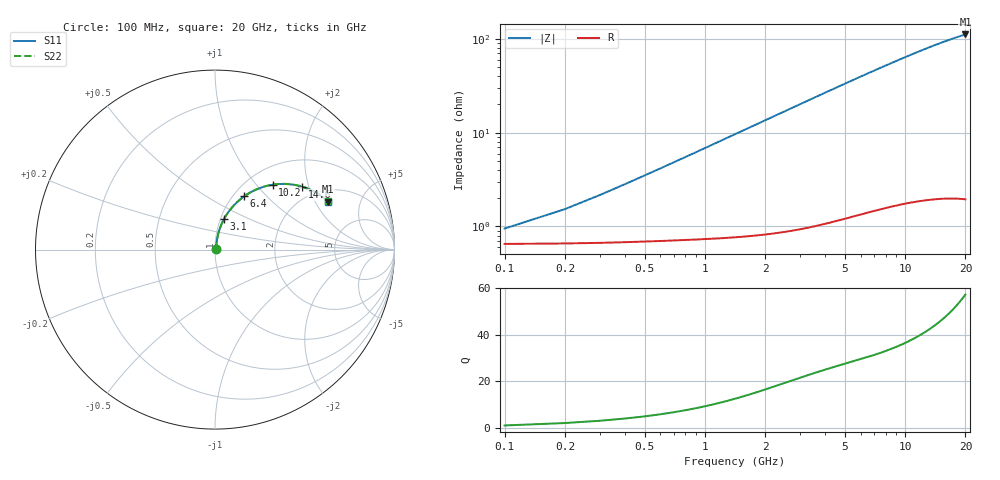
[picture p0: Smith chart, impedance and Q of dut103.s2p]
! Touchstone file exported from HFSS 2026.1.0
!  File:  C:/ffzhzh/LocalFiles/Ansys_Project_Files/temp_train_TMRDL_103_1782982290_42984.aedt
!  Generated:  04:53:14 PM Jul  2, 2026
!  Design:  TMRDL
!  Project:  temp_train_TMRDL_103_1782982290_42984
! Variables:
!  h_bsmrdl = 2um
!  h_ox = 20um
!  h_rdl = 5um
!  h_sub = 80um
!  h_tmrdl = 5.02um
!  h_tsv = 80um
!  h_via = 3um
!  l_bsmrdl = 300um
!  l_sub = 1372.23um
!  l_tmrdl = 972.23um
!  m_sub = 200um
!  pitch = 59.87um
!  r_tsv = 6um
!  s_tmrdl = 10um
!  w_bsmrdl = 18um
!  w_sub = 500um
!  w_tmrdl = 10.47um
!  x_tsv_center1 = 977.465um
!  x_tsv_center2 = 1295.465um
!  x_tsv_center3 = 2278.165um
!  x_tsv_center4 = 2596.165um
!  x_tsv_center5 = 3578.865um
!  x_tsv_center6 = 3896.865um
# GHz S MA R 50.000000
! Terminal data exported
! Port[1] = TM_RDL1_1_T1
! Port[2] = TM_RDL1_1_T2
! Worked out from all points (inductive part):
!   200 points, 100 MHz to 20 GHz, reference 50 ohm
!   read as one part in series: L = 1.09 nH near 300 MHz
!   highest Q = 57.3 at 20 GHz (marker M1), where L = 888 pH
!   S11 on the Smith chart (normalised r, x): 100 MHz: 1.01, +0.01; 3.1 GHz: 1.04, +0.36; 6.4 GHz: 1.12, +0.75; 10.2 GHz: 1.30, +1.22; 14.6 GHz: 1.66, +1.81; 20 GHz: 2.56, +2.58
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0.1  0.008805 42.2  0.9935 -0.4  0.9935 -0.4  0.008805 42.2
! Gamma 0 0 0 0
! Port Impedance 50 0 50 0
0.2  0.01359 60.3  0.9934 -0.9  0.9934 -0.9  0.01359 60.3
0.3  0.01901 68.2  0.9932 -1.3  0.9932 -1.3  0.01901 68.2
0.4  0.02462 72.3  0.993 -1.8  0.993 -1.8  0.02462 72.3
0.5  0.03029 74.7  0.9927 -2.2  0.9927 -2.2  0.03029 74.7
0.7  0.04171 77.2  0.9921 -3.1  0.9921 -3.1  0.04171 77.2
1  0.05889 78.5  0.991 -4.4  0.991 -4.4  0.05889 78.5
1.4  0.08176 78.5  0.9891 -6.1  0.9891 -6.1  0.08176 78.6
1.9  0.1101 77.5  0.986 -8.3  0.986 -8.3  0.1101 77.6
2.5  0.1436 75.7  0.9811 -10.9  0.9811 -10.9  0.1436 75.7
3.1  0.1763 73.6  0.9751 -13.4  0.9751 -13.4  0.1763 73.6
3.5  0.1977 72.1  0.9706 -15.1  0.9706 -15.1  0.1977 72.1
4.8  0.2639 67.2  0.9533 -20.3  0.9533 -20.3  0.2639 67.3
6.4  0.3384 61.3  0.9281 -26.5  0.9281 -26.5  0.3384 61.3
6.8  0.3558 59.8  0.9213 -28.0  0.9213 -28.0  0.3558 59.9
8.3  0.4163 54.6  0.8949 -33.4  0.8949 -33.4  0.4163 54.7
10.1  0.4797 48.7  0.8622 -39.4  0.8622 -39.4  0.4797 48.8
10.2  0.4829 48.4  0.8604 -39.7  0.8604 -39.7  0.4829 48.5
13.4  0.5721 39.0  0.8044 -49.4  0.8044 -49.4  0.5721 39.1
14.6  0.599 35.8  0.7849 -52.7  0.7849 -52.7  0.599 35.9
16.7  0.6387 30.5  0.7538 -58.1  0.7538 -58.1  0.6387 30.7
20  0.6854 22.9  0.713 -65.8  0.713 -65.8  0.6854 23.1
